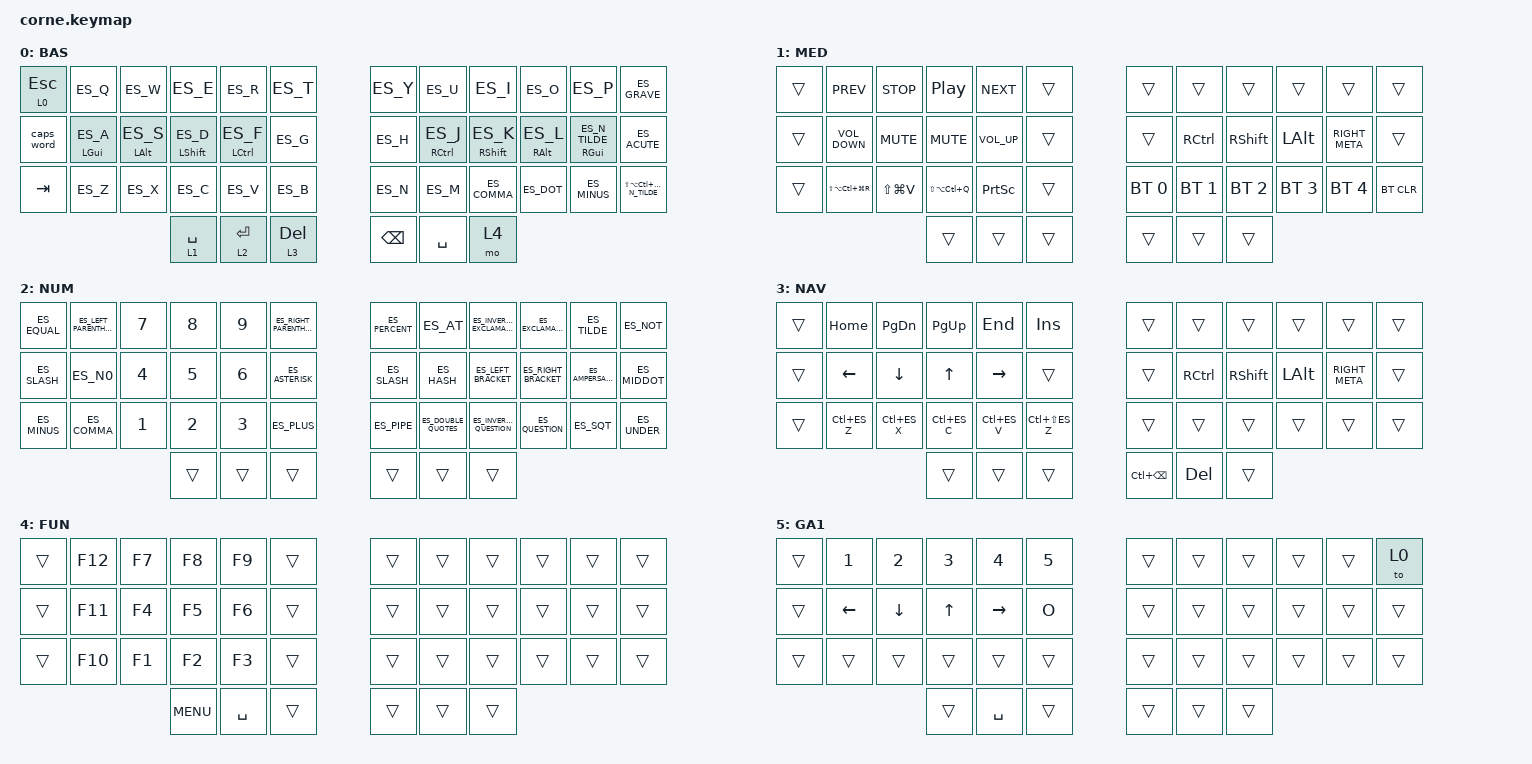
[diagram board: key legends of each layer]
/*
 * Copyright (c) 2020 The ZMK Contributors
 *
 * SPDX-License-Identifier: MIT
 */

#include "keys_es.h"
#include <behaviors.dtsi>
#include <dt-bindings/zmk/bt.h>
#include <dt-bindings/zmk/keys.h>

/ {
    combos {
        compatible = "zmk,combos";

        combo_to_layer_5 {
            bindings = <&to 5>;
            key-positions = <0 1>;
        };

        combo_cedilla {
            bindings = <&kp ES_C_CEDILLA>;
            key-positions = <27 26>;
            layers = <2>;
        };

        combo_smaller {
            bindings = <&kp ES_LESS_THAN>;
            key-positions = <20 19>;
            layers = <2>;
        };

        combo_greater {
            bindings = <&kp ES_GREATER_THAN>;
            key-positions = <21 22>;
            layers = <2>;
        };

        combo_backslash {
            bindings = <&kp ES_BACKSLASH>;
            key-positions = <19 18>;
            layers = <2>;
        };

        combo_left_brace {
            bindings = <&kp ES_LEFT_BRACE>;
            key-positions = <20 32>;
            layers = <2>;
        };

        combo_right_brace {
            bindings = <&kp ES_RIGHT_BRACE>;
            key-positions = <33 21>;
            layers = <2>;
        };

        combo_high_a {
            bindings = <&kp ES_FEMININE_ORDINAL_INDICATOR>;
            key-positions = <13 14>;
            layers = <2>;
        };

        combo_high_o {
            bindings = <&kp ES_MASCULINE_ORDINAL_INDICATOR>;
            key-positions = <9 10>;
            layers = <2>;
        };

        combo_euro {
            bindings = <&kp RA(E)>;
            key-positions = <3 2>;
            layers = <2>;
        };

        combo_dollar {
            bindings = <&kp ES_DOLLAR>;
            key-positions = <14 15>;
            layers = <2>;
        };

        combo_caps_lock {
            bindings = <&kp CAPSLOCK>;
            key-positions = <12 23>;
        };

        combo_double_gui {
            bindings = <&macro_double_gui>;
            key-positions = <12 13>;
        };

        combo_em_dash {
            bindings = <&macro_em_dash>;
            key-positions = <35 34>;
            layers = <2>;
        };
    };

    macros {
        macro_em_dash: em_dash {
            compatible = "zmk,behavior-macro";
            #binding-cells = <0>;
            bindings = <&kp ES_COLON &kp ES_E &kp ES_M>;
            label = "EM_DASH";
        };

        macro_double_gui: macro_double_gui {
            compatible = "zmk,behavior-macro";
            #binding-cells = <0>;
            bindings = <&kp LEFT_GUI &kp LEFT_GUI>;
            label = "MACRO_DOUBLE_GUI";
        };
    };

    behaviors {
        hm: homerow_mods {
            compatible = "zmk,behavior-hold-tap";
            #binding-cells = <2>;
            tapping-term-ms = <150>;
            quick-tap-ms = <0>;
            flavor = "tap-preferred";
            bindings = <&kp>, <&kp>;
        };

        bhm: balanced_homerow_mods {
            compatible = "zmk,behavior-hold-tap";
            #binding-cells = <2>;
            tapping-term-ms = <300>;    // <---[[moderate duration]]
            quick-tap-ms = <0>;
            flavor = "balanced";
            bindings = <&kp>, <&kp>;
        };
    };

    keymap {
        compatible = "zmk,keymap";

        BAS {
            // -----------------------------------------------------------------------------------------
            // |  ESC |  Q  |  W  |  E  |  R  |  T  |   |  Y  |  U   |  I  |  O  |  P  |  `   |
            // | CAPW |  A  |  S  |  D  |  F  |  G  |   |  H  |  J   |  K  |  L  |  Ñ  |  ´   |
            // |  TAB |  Z  |  X  |  C  |  V  |  B  |   |  N  |  M   |  ,  |  .  |  -  |  MIC |
            //                    | MO1 | DEL | ENT |   | BAC | SPAC | MO4 |

            bindings = <
&lt 0 ESC   &kp ES_Q        &kp ES_W        &kp ES_E          &kp ES_R         &kp ES_T        &kp ES_Y       &kp ES_U         &kp ES_I          &kp ES_O             &kp ES_P              &kp ES_GRAVE
&caps_word  &bhm LGUI ES_A  &bhm LALT ES_S  &bhm LSHIFT ES_D  &bhm LCTRL ES_F  &kp ES_G        &kp ES_H       &bhm RCTRL ES_J  &bhm RSHIFT ES_K  &bhm RIGHT_ALT ES_L  &bhm RGUI ES_N_TILDE  &kp ES_ACUTE
&kp TAB     &kp ES_Z        &kp ES_X        &kp ES_C          &kp ES_V         &kp ES_B        &kp ES_N       &kp ES_M         &kp ES_COMMA      &kp ES_DOT           &kp ES_MINUS          &kp LS(LA(LC(LG(ES_N_TILDE))))
                                            &lt 1 SPACE       &lt 2 ENTER      &lt 3 DELETE    &kp BACKSPACE  &kp SPACE        &mo 4
            >;
        };

        MED {
            // -----------------------------------------------------------------------------------------
            // |  TRAN  |  PREV  |  STOP  |  P/P   |  NEXT  |  TRAN  |   |  TRAN  |  TRAN  |  TRAN  |  TRAN  |  TRAN  |  TRAN  |
            // |  TRAN  |  VOL↓  |  MUTE  |  MUTE  |  VOL↑  |  TRAN  |   |  TRAN  |  RCTRL |  RSHFT |  LALT  |  RGUI  |  TRAN  |
            // |  TRAN  |  REC   |  CLIP  |  EMO   |  PRSC  |  TRAN  |   |  BT0   |  BT1   |  BT2   |  BT3   |  BT4   |  BTCR  |
            //                            |  TRAN  |  TRAN  |  TRAN  |   |  TRAN  |  TRAN  |  TRAN  |

            bindings = <
&trans  &kp C_PREV             &kp C_STOP     &kp C_PLAY_PAUSE   &kp C_NEXT       &trans    &trans        &trans             &trans           &trans        &trans          &trans
&trans  &kp C_VOLUME_DOWN      &kp C_MUTE     &kp C_MUTE         &kp C_VOLUME_UP  &trans    &trans        &kp RIGHT_CONTROL  &kp RIGHT_SHIFT  &kp LEFT_ALT  &kp RIGHT_META  &trans
&trans  &kp LS(LA(LC(LG(R))))  &kp LS(LG(V))  &kp LS(LA(LC(Q)))  &kp PRINTSCREEN  &trans    &bt BT_SEL 0  &bt BT_SEL 1       &bt BT_SEL 2     &bt BT_SEL 3  &bt BT_SEL 4    &bt BT_CLR
                                              &trans             &trans           &trans    &trans        &trans             &trans
            >;
        };

        NUM {
            // -----------------------------------------------------------------------------------------
            // |  TAB |  !  |  @  |  #  |  $  |  %  |   |  ^  |  &  |  *  |  (  |  )  | BKSP |
            // | CTRL |     |     |     |     |     |   |  -  |  =  |  [  |  ]  |  \  |  `   |
            // | SHFT |     |     |     |     |     |   |  _  |  +  |  {  |  }  | "|" |  ~   |
            //                    | GUI |     | SPC |   | ENT |     | ALT |

            bindings = <
&kp ES_EQUAL  &kp ES_LEFT_PARENTHESIS  &kp NUMBER_7  &kp NUMBER_8  &kp NUMBER_9  &kp ES_RIGHT_PARENTHESIS    &kp ES_PERCENT  &kp ES_AT             &kp ES_INVERTED_EXCLAMATION  &kp ES_EXCLAMATION    &kp ES_TILDE      &kp ES_NOT
&kp ES_SLASH  &kp ES_N0                &kp NUMBER_4  &kp NUMBER_5  &kp NUMBER_6  &kp ES_ASTERISK             &kp ES_SLASH    &kp ES_HASH           &kp ES_LEFT_BRACKET          &kp ES_RIGHT_BRACKET  &kp ES_AMPERSAND  &kp ES_MIDDOT
&kp ES_MINUS  &kp ES_COMMA             &kp NUMBER_1  &kp NUMBER_2  &kp NUMBER_3  &kp ES_PLUS                 &kp ES_PIPE     &kp ES_DOUBLE_QUOTES  &kp ES_INVERTED_QUESTION     &kp ES_QUESTION       &kp ES_SQT        &kp ES_UNDER
                                                     &trans        &trans        &trans                      &trans          &trans                &trans
            >;
        };

        NAV {
            bindings = <
&trans  &kp HOME        &kp PAGE_DOWN  &kp PG_UP     &kp END          &kp INSERT          &trans             &trans     &trans           &trans        &trans          &trans
&trans  &kp LEFT_ARROW  &kp DOWN       &kp UP_ARROW  &kp RIGHT_ARROW  &trans              &trans             &kp RCTRL  &kp RIGHT_SHIFT  &kp LEFT_ALT  &kp RIGHT_META  &trans
&trans  &kp LC(ES_Z)    &kp LC(ES_X)   &kp LC(ES_C)  &kp LC(ES_V)     &kp LC(LS(ES_Z))    &trans             &trans     &trans           &trans        &trans          &trans
                                       &trans        &trans           &trans              &kp LC(BACKSPACE)  &kp DEL    &trans
            >;
        };

        FUN {
            bindings = <
&trans  &kp F12  &kp F7  &kp F8      &kp F9     &trans    &trans  &trans  &trans  &trans  &trans  &trans
&trans  &kp F11  &kp F4  &kp F5      &kp F6     &trans    &trans  &trans  &trans  &trans  &trans  &trans
&trans  &kp F10  &kp F1  &kp F2      &kp F3     &trans    &trans  &trans  &trans  &trans  &trans  &trans
                         &kp C_MENU  &kp SPACE  &trans    &trans  &trans  &trans
            >;
        };

        GA1 {
            bindings = <
&trans  &kp N1    &kp N2          &kp N3        &kp N4     &kp N5    &trans  &trans  &trans  &trans  &trans  &to 0
&trans  &kp LEFT  &kp DOWN_ARROW  &kp UP_ARROW  &kp RIGHT  &kp O     &trans  &trans  &trans  &trans  &trans  &trans
&trans  &trans    &trans          &trans        &trans     &trans    &trans  &trans  &trans  &trans  &trans  &trans
                                  &trans        &kp SPACE  &trans    &trans  &trans  &trans
            >;
        };
    };
};
